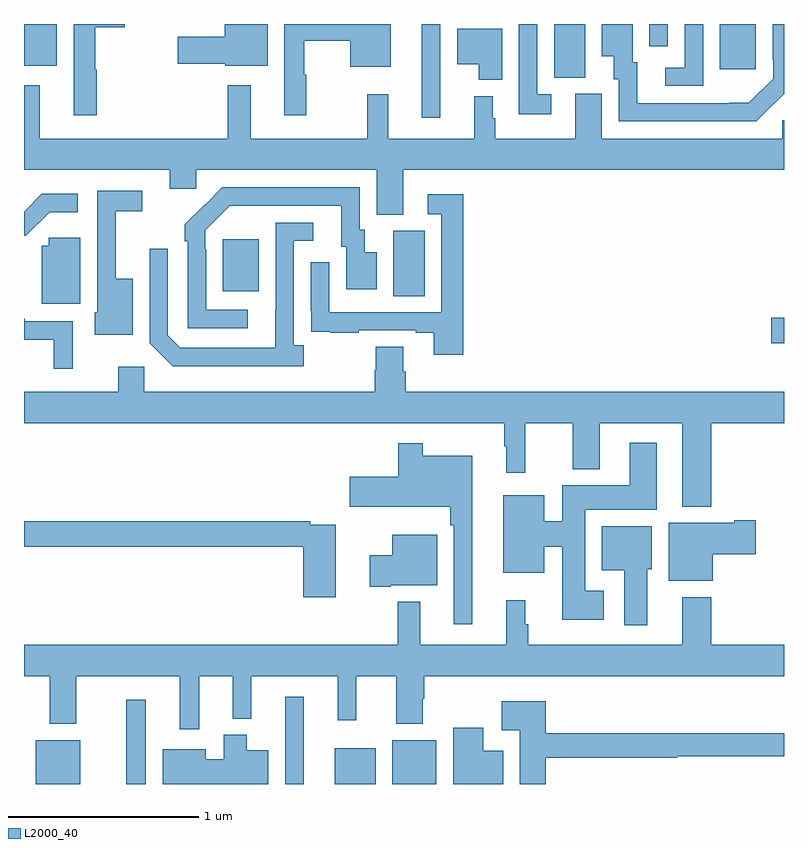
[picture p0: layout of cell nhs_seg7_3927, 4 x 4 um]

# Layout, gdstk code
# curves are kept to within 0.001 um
import gdstk
lib = gdstk.Library(unit=1e-6, precision=1e-09)
def R(c, l, rs):  # rectangles x0, y0, x1, y1
    for r in rs: c.add(gdstk.rectangle(r[:2], r[2:], *l))
def P(c, l, *ps):  # polygons
    for p in ps: c.add(gdstk.Polygon(p, *l))
L2000_40 = (2000, 40)

nhs_seg7_3927 = lib.new_cell('nhs_seg7_3927')
R(nhs_seg7_3927, L2000_40, [(359.063,1048,359.296,1048.231), (359.537,1048,359.641,1048.444), (360.375,1048,360.472,1048.459), (360.635,1048,360.85,1048.189), (360.938,1048,361.171,1048.231), (362.934,1050.32,363,1050.455), (360.944,1050.568,361.108,1050.912), (360.047,1050.593,360.235,1050.868), (361.094,1051.506,361.191,1052), (361.79,1051.717,361.954,1052), (362.663,1051.761,362.851,1052), (359,1051.781,359.173,1052), (362.292,1051.884,362.388,1052)])
P(nhs_seg7_3927, L2000_40, [(362.945,1051.579),(362.946,1051.578),(363,1051.632),(363,1052),(362.94,1052),(362.94,1051.813),(362.943,1051.813),(362.943,1051.713),(362.815,1051.585),(362.711,1051.584),(362.227,1051.584),(362.227,1051.8),(362.203,1051.8),(362.203,1052),(362.042,1052),(362.042,1051.829),(362.105,1051.829),(362.105,1051.71),(362.13,1051.71),(362.13,1051.488),(362.854,1051.488)],
  [(360.283,1052),(360.056,1052),(360.056,1051.934),(359.808,1051.934),(359.808,1051.792),(360.06,1051.792),(360.06,1051.781),(360.283,1051.781)],
  [(359.383,1051.76),(359.375,1051.76),(359.375,1051.982),(359.53,1051.982),(359.53,1052),(359.261,1052),(359.261,1051.521),(359.383,1051.521)],
  [(362.574,1052),(362.478,1052),(362.478,1051.77),(362.376,1051.77),(362.376,1051.674),(362.574,1051.674)],
  [(361.774,1051.629),(361.701,1051.629),(361.701,1052),(361.605,1052),(361.605,1051.524),(361.774,1051.524)],
  [(360.485,1051.734),(360.475,1051.734),(360.475,1051.912),(360.716,1051.912),(360.716,1051.775),(360.931,1051.775),(360.931,1052),(360.371,1052),(360.371,1051.521),(360.485,1051.521)],
  [(361.516,1051.975),(361.28,1051.975),(361.28,1051.787),(361.394,1051.787),(361.394,1051.706),(361.516,1051.706)],
  [(360.997,1051.232),(363,1051.232),(363,1051.494),(362.991,1051.494),(362.991,1051.396),(362.041,1051.396),(362.041,1051.632),(361.901,1051.632),(361.901,1051.396),(361.48,1051.396),(361.48,1051.503),(361.468,1051.503),(361.468,1051.621),(361.37,1051.621),(361.37,1051.396),(360.917,1051.396),(360.917,1051.63),(360.807,1051.63),(360.807,1051.396),(360.193,1051.396),(360.193,1051.678),(360.072,1051.678),(360.072,1051.396),(359.083,1051.396),(359.083,1051.678),(359,1051.678),(359,1051.232),(359.768,1051.232),(359.768,1051.134),(359.907,1051.134),(359.907,1051.232),(360.857,1051.232),(360.857,1050.997),(360.997,1050.997)],
  [(360.178,1050.495),(359.958,1050.495),(359.958,1050.815),(359.955,1050.815),(359.955,1050.915),(360.084,1051.044),(360.671,1051.044),(360.671,1050.828),(360.695,1050.828),(360.695,1050.603),(360.856,1050.603),(360.856,1050.799),(360.793,1050.799),(360.793,1050.918),(360.768,1050.918),(360.768,1051.14),(360.044,1051.14),(359.847,1050.945),(359.847,1050.857),(359.862,1050.857),(359.862,1050.399),(360.178,1050.399)],
  [(359.572,1050.658),(359.483,1050.658),(359.483,1051.014),(359.623,1051.014),(359.623,1051.122),(359.385,1051.122),(359.385,1050.483),(359.373,1050.483),(359.373,1050.365),(359.572,1050.365)],
  [(359.135,1051.01),(359.284,1051.01),(359.284,1051.107),(359.094,1051.107),(359,1051.013),(359,1050.885),(359.009,1050.885)],
  [(361.313,1051.105),(361.125,1051.105),(361.125,1050.999),(361.197,1050.999),(361.197,1050.483),(360.606,1050.483),(360.606,1050.745),(360.51,1050.745),(360.51,1050.49),(360.511,1050.49),(360.511,1050.381),(360.613,1050.381),(360.613,1050.375),(360.761,1050.375),(360.761,1050.387),(361.061,1050.387),(361.061,1050.375),(361.157,1050.375),(361.157,1050.258),(361.313,1050.258)],
  [(360.472,1050.31),(360.42,1050.31),(360.42,1050.858),(360.523,1050.858),(360.523,1050.954),(360.324,1050.954),(360.323,1050.297),(359.823,1050.297),(359.757,1050.363),(359.757,1050.817),(359.661,1050.817),(359.661,1050.321),(359.782,1050.2),(360.472,1050.2)],
  [(359.296,1050.874),(359.13,1050.874),(359.13,1050.832),(359.093,1050.832),(359.093,1050.527),(359.296,1050.527)],
  [(359.256,1050.435),(359.005,1050.435),(359.005,1050.448),(359,1050.448),(359,1050.339),(359.156,1050.339),(359.156,1050.186),(359.256,1050.186)],
  [(362.618,1049.9),(363,1049.9),(363,1050.064),(361.01,1050.064),(361.01,1050.17),(360.997,1050.17),(360.997,1050.302),(360.85,1050.302),(360.85,1050.177),(360.845,1050.177),(360.845,1050.064),(359.634,1050.064),(359.634,1050.196),(359.495,1050.196),(359.495,1050.064),(359,1050.064),(359,1049.9),(361.527,1049.9),(361.527,1049.777),(361.538,1049.777),(361.538,1049.637),(361.638,1049.637),(361.638,1049.9),(361.889,1049.9),(361.889,1049.657),(362.029,1049.657),(362.029,1049.9),(362.465,1049.9),(362.465,1049.459),(362.618,1049.459)],
  [(362.05,1049.017),(361.954,1049.017),(361.954,1049.444),(362.329,1049.444),(362.329,1049.797),(362.189,1049.797),(362.189,1049.572),(361.832,1049.572),(361.832,1049.384),(361.738,1049.384),(361.738,1049.521),(361.523,1049.521),(361.523,1049.111),(361.738,1049.111),(361.738,1049.248),(361.832,1049.248),(361.832,1048.865),(362.05,1048.865)],
  [(361.36,1049.728),(361.099,1049.728),(361.099,1049.794),(360.97,1049.794),(360.97,1049.617),(360.714,1049.617),(360.714,1049.459),(361.243,1049.459),(361.243,1049.363),(361.263,1049.363),(361.263,1048.842),(361.36,1048.842)],
  [(362.626,1049.209),(362.851,1049.209),(362.851,1049.387),(362.738,1049.387),(362.738,1049.374),(362.393,1049.374),(362.393,1049.069),(362.626,1049.069)],
  [(360.64,1049.364),(360.506,1049.364),(360.506,1049.384),(359,1049.384),(359,1049.248),(360.47,1049.248),(360.47,1048.983),(360.64,1048.983)],
  [(362.281,1049.13),(362.305,1049.13),(362.305,1049.356),(362.042,1049.356),(362.042,1049.126),(362.159,1049.126),(362.159,1048.836),(362.281,1048.836)],
  [(360.931,1049.045),(361.174,1049.045),(361.174,1049.311),(360.938,1049.311),(360.938,1049.203),(360.819,1049.203),(360.819,1049.038),(360.931,1049.038)],
  [(359.923,1048.568),(360.098,1048.568),(360.098,1048.343),(360.197,1048.343),(360.197,1048.568),(360.65,1048.568),(360.65,1048.335),(360.749,1048.335),(360.749,1048.568),(360.959,1048.568),(360.959,1048.316),(361.099,1048.316),(361.099,1048.448),(361.107,1048.448),(361.107,1048.568),(363,1048.568),(363,1048.732),(362.618,1048.732),(362.618,1048.984),(362.465,1048.984),(362.465,1048.732),(361.655,1048.732),(361.655,1048.841),(361.637,1048.841),(361.637,1048.966),(361.538,1048.966),(361.538,1048.732),(361.085,1048.732),(361.085,1048.96),(360.967,1048.96),(360.967,1048.732),(359,1048.732),(359,1048.568),(359.135,1048.568),(359.135,1048.316),(359.275,1048.316),(359.275,1048.568),(359.819,1048.568),(359.819,1048.287),(359.923,1048.287)],
  [(361.745,1048.138),(362.439,1048.138),(362.439,1048.146),(363,1048.146),(363,1048.267),(361.745,1048.267),(361.745,1048.435),(361.515,1048.435),(361.515,1048.283),(361.61,1048.283),(361.61,1048),(361.745,1048)],
  [(361.522,1048.174),(361.417,1048.174),(361.417,1048.297),(361.259,1048.297),(361.259,1048),(361.522,1048)],
  [(360.286,1048.177),(360.172,1048.177),(360.172,1048.258),(360.05,1048.258),(360.05,1048.129),(359.956,1048.129),(359.956,1048.183),(359.729,1048.183),(359.729,1048),(360.286,1048)])

lib.write_gds('nhs_seg7_3927.gds')
